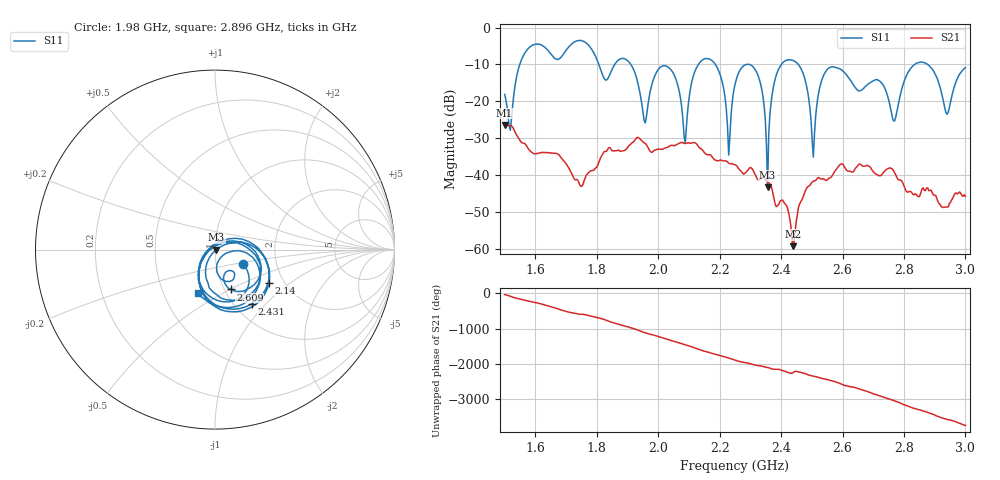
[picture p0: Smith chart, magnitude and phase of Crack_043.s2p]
# HZ S RI R 50
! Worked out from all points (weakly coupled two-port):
!   404 points, 1.5 GHz to 3 GHz, reference 50 ohm
!   highest |S21| = -26.39 dB at 1.5 GHz (marker M1); lowest = -59.3 dB at 2.438 GHz (marker M2)
!   lowest |S11| = -43.3 dB at 2.356 GHz (marker M3), VSWR 1.01, Z = 50.7 - j0.00862 ohm
!   |S11| at or under -10 dB: 1.911 GHz to 2.131 GHz (220.4 MHz wide, 10.9 % of centre); 2.456 GHz to 2.835 GHz (378.9 MHz wide, 14.3 % of centre); 2.877 GHz to end of sweep (the widest 3 of 7)
!   S12 and S22 are empty: the file has one direction only
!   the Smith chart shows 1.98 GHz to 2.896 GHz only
!   S11 on the Smith chart (normalised r, x): 1.98 GHz: 1.35, -0.22; 2.14 GHz: 1.68, -0.70; 2.431 GHz: 1.20, -0.83; 2.609 GHz: 1.07, -0.50; 2.896 GHz: 0.74, -0.39
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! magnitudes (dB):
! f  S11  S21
! 1.5 GHz  -18.1  -26.4
! 1.753 GHz  -3.6  -42.9
! 1.906 GHz  -9.4  -32.0
! 1.958 GHz  -25.9  -31.4
! 1.98 GHz  -15.2  -33.9
! 2.002 GHz  -11.2  -33.0
! 2.088 GHz  -31.4  -31.4
! 2.14 GHz  -9.0  -32.9
! 2.23 GHz  -34.6  -36.8
! 2.252 GHz  -14.8  -37.3
! 2.315 GHz  -11.4  -39.8
! 2.356 GHz  -43.3  -42.0
! 2.382 GHz  -13.6  -48.3
! 2.431 GHz  -8.8  -53.0
! 2.438 GHz  -8.9  -59.3
! 2.501 GHz  -30.5  -41.9
! 2.542 GHz  -12.4  -41.3
! 2.609 GHz  -12.5  -38.2
! 2.751 GHz  -19.7  -38.2
! 2.896 GHz  -11.7  -45.4
! 2.94 GHz  -23.5  -48.7
! 3 GHz  -10.9  -45.8
